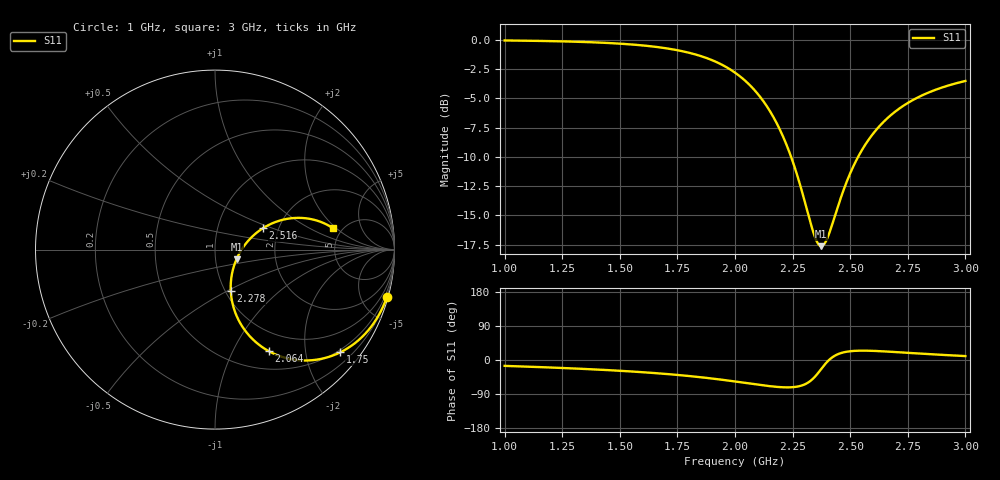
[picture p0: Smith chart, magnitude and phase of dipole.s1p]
! Touchstone file from project Dipole
! Exported from ElectronicsDesktop 2018.0.0
# GHZ S DB R 50.000000
! Modal data exported
! Port[1] = 1:1
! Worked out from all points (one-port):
!   2001 points, 1 GHz to 3 GHz, reference 50 ohm
!   lowest |S11| = -17.6 dB at 2.374 GHz (marker M1), VSWR 1.30, Z = 63.2 - j6.84 ohm
!   |S11| at or under -10 dB: 2.243 GHz to 2.534 GHz (291.1 MHz wide, 12.2 % of centre)
!   S11 on the Smith chart (normalised r, x): 1 GHz: 0.19, -7.34; 1.75 GHz: 0.44, -2.73; 2.064 GHz: 0.73, -1.40; 2.278 GHz: 1.06, -0.52; 2.516 GHz: 1.66, +0.43; 3 GHz: 4.18, +1.81
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1  -0.06 -15.5
1.25  -0.14 -21.0
1.5  -0.33 -28.4
1.633  -0.55 -33.7
1.75  -0.89 -39.4
1.823  -1.23 -43.7
1.893  -1.68 -48.3
2  -2.81 -56.7
2.064  -3.87 -62.1
2.114  -5.01 -66.3
2.166  -6.58 -70.0
2.21  -8.34 -72.0
2.25  -10.37 -71.7
2.278  -12.10 -69.3
2.343  -16.63 -46.7
2.359  -17.38 -35.6
2.374  -17.64 -23.9
2.388  -17.44 -13.1
2.404  -16.80 -2.4
2.465  -13.18 19.2
2.5  -11.41 23.1
2.516  -10.72 24.0
2.563  -9.04 24.7
2.617  -7.60 23.7
2.679  -6.40 21.6
2.75  -5.40 18.9
2.871  -4.27 14.5
3  -3.52 10.4
